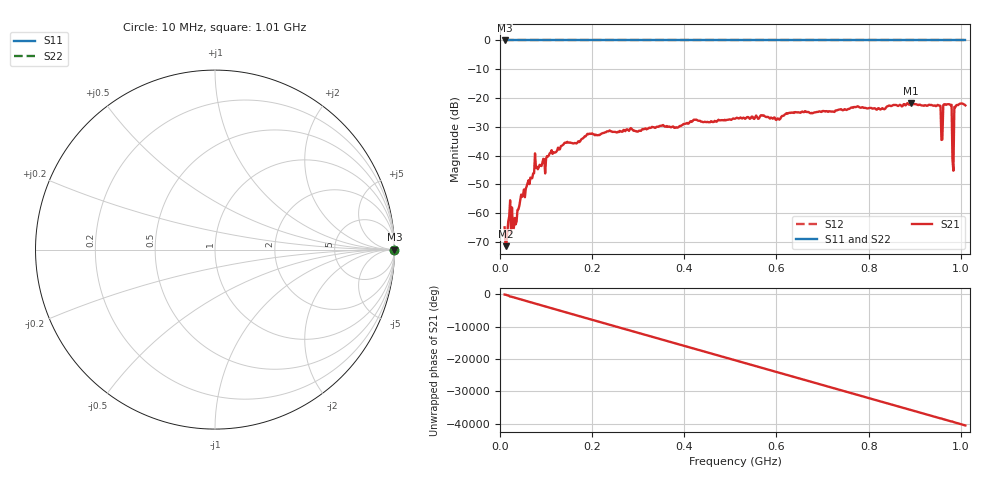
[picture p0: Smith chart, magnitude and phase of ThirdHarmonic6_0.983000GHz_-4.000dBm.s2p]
! 8/16/2025 7:38:54 AM
! C:\ANRITSUVNA\TEMP\TEMP.S2P
! CHANNEL.1
! TR.MEASUREMENT
! RAW.DATA
! RF.CORRECTION.OFF
! AVERAGING.OFF
! IF.BANDWIDTH: 5KHZ
! SWEEPTYPE:  FREQ.SWEEP(Linear)
! Reference Plane Port Info
! PORT:  PORT1  PORT2
! DISTANCE:  0  m  0  m
! TIME:  0  s  0  s
! PHASE.OFFSET:  0  deg.  0  deg.
! LOSS:  0  dB  0  dB
! REF.LOSS:  0  dB  0  dB
! REF.FREQ:  0  Hz  0  Hz
! Power Info
! POWER:  -20  dBm  -20  dBm
! EFF.POWER:  -20  dBm  -20  dBm
! SOURCE.ATTEN:  0  dB  0  dB
! TEST.ATTEN:  0  dB  0  dB
# GHZ S RI R 50.0
! FREQ.GHZ  S11RE  S11IM  S21RE  S21IM  S12RE  S12IM  S22RE  S22IM
!; PortSelection: Port_12
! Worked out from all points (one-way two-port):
!   501 points, 10 MHz to 1.01 GHz, reference 50 ohm
!   highest |S21| = -21.75 dB at 892 MHz (marker M1); lowest = -71.4 dB at 12 MHz (marker M2)
!   lowest |S11| = 0.0 dB at 10 MHz (marker M3)
!   |S11| at or under -10 dB: nowhere
!   |S22| runs from 0.0 to 0.0 dB; largest |S21 - S12| = 1.1
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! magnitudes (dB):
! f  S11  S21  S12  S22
! 10 MHz  0.0  -64.9  0.0  0.0
! 12 MHz  0.0  -71.4  0.0  0.0
! 22 MHz  0.0  -55.5  0.0  0.0
! 32 MHz  0.0  -61.6  0.0  0.0
! 48 MHz  0.0  -54.3  0.0  0.0
! 76 MHz  0.0  -39.2  0.0  0.0
! 142 MHz  0.0  -35.5  0.0  0.0
! 178 MHz  0.0  -34.2  0.0  0.0
! 344 MHz  0.0  -30.0  0.0  0.0
! 510 MHz  0.0  -27.2  0.0  0.0
! 678 MHz  0.0  -25.3  0.0  0.0
! 844 MHz  0.0  -22.6  0.0  0.0
! 892 MHz  0.0  -21.7  0.0  0.0
! 952 MHz  0.0  -22.6  0.0  0.0
! 956 MHz  0.0  -22.7  0.0  0.0
! 962 MHz  0.0  -22.4  0.0  0.0
! 966 MHz  0.0  -22.2  0.0  0.0
! 976 MHz  0.0  -22.2  0.0  0.0
! 980 MHz  0.0  -22.3  0.0  0.0
! 986 MHz  0.0  -23.1  0.0  0.0
! 990 MHz  0.0  -22.5  0.0  0.0
! 1.01 GHz  0.0  -22.6  0.0  0.0
